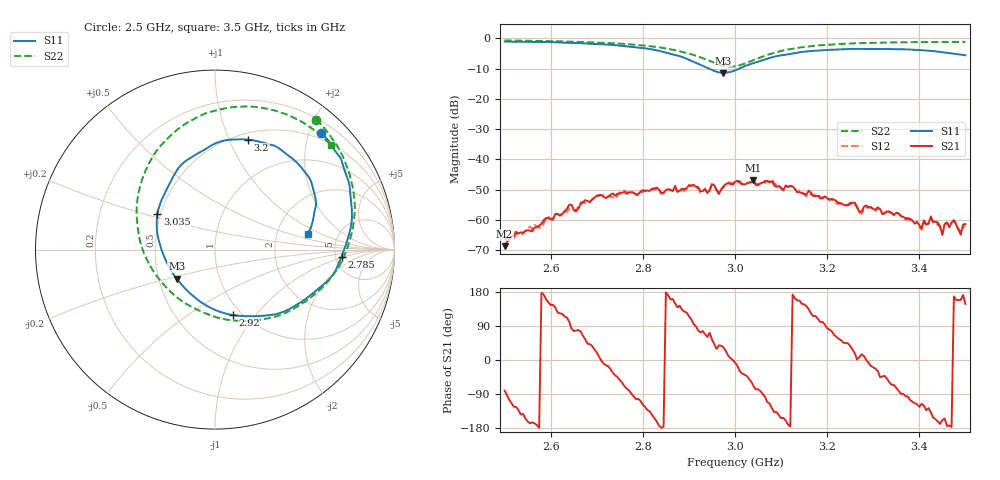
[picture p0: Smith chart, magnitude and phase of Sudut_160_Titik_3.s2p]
# Hz S RI R 50
! CMT, C1220, 16058040, 17.2.0/1
! Date: 15/08/2018 10:42:09
! Data: Format (Calibration Info)
! Freq  S11: Re/Im (F2)  S21: Re/Im (F2)  S12: Re/Im (F2)  S22: Re/Im (F2)
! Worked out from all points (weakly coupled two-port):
!   201 points, 2.5 GHz to 3.5 GHz, reference 50 ohm
!   highest |S21| = -46.92 dB at 3.04 GHz (marker M1); lowest = -68.7 dB at 2.5 GHz (marker M2)
!   lowest |S11| = -11.4 dB at 2.975 GHz (marker M3), VSWR 1.73, Z = 31 - j10.8 ohm
!   |S11| at or under -10 dB: 2.943 GHz to 3.009 GHz (66 MHz wide, 2.22 % of centre)
!   |S22| runs from -9.4 to -0.7 dB; largest |S21 - S12| = 0.00043
!   S11 on the Smith chart (normalised r, x): 2.5 GHz: 0.38, +2.21; 2.785 GHz: 5.66, -0.87; 2.92 GHz: 0.91, -0.77; 3.035 GHz: 0.48, +0.22; 3.2 GHz: 0.57, +1.18; 3.5 GHz: 3.00, +0.73
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2.5e9  0.5925 0.6512  5.89e-05 -0.000365  1.09e-06 -0.000467  0.5643 0.7248
2.525e9  0.6276 0.6126  -0.000358 -0.000528  -0.000318 -0.000486  0.593 0.6958
2.67e9  0.7511 0.34  0.00086 0.00177  0.000938 0.00171  0.7383 0.4535
2.785e9  0.7049 -0.0385  -0.000598 -0.00255  -0.000716 -0.00251  0.7683 0.1228
2.835e9  0.5818 -0.2132  -0.00316 -0.000383  -0.00306 -0.000418  0.7043 -0.069
2.92e9  0.0983 -0.3647  0.00071 0.00341  0.000637 0.00328  0.3313 -0.3751
2.965e9  -0.1679 -0.2159  0.00209 0.00167  0.00221 0.00171  -0.0209 -0.3675
2.975e9  -0.213 -0.1623  0.003 0.00198  0.00291 0.00194  -0.0974 -0.3356
3e9  -0.294 -0.0119  0.00421 -0.000501  0.00417 -0.000723  -0.2716 -0.2103
3.035e9  -0.3211 0.1984  0.0023 -0.0035  0.00235 -0.00345  -0.4182 0.0479
3.04e9  -0.3147 0.2265  0.00167 -0.00419  0.00182 -0.00417  -0.4255 0.0886
3.17e9  0.0856 0.6124  -0.00108 0.00227  -0.00128 0.00212  -0.0902 0.7417
3.2e9  0.1849 0.613  0.000255 0.00228  0.000344 0.00225  0.0207 0.7788
3.275e9  0.3764 0.5493  0.00135 0.000363  0.00122 0.000319  0.2525 0.7912
3.335e9  0.4887 0.4478  0.000692 -0.00116  0.000652 -0.00121  0.3934 0.7548
3.405e9  0.5555 0.3034  -0.000321 -0.000664  -0.000342 -0.000598  0.5196 0.6881
3.425e9  0.5632 0.2562  -0.000854 -0.000762  -0.00077 -0.000743  0.5497 0.6682
3.45e9  0.5527 0.2015  -0.000529 -0.000207  -0.000544 -0.000196  0.5859 0.6397
3.46e9  0.5477 0.1748  -0.000904 -9.4e-05  -0.00088 -0.000114  0.5987 0.6295
3.475e9  0.5394 0.1372  -0.000975 0.000211  -0.000939 0.000201  0.6164 0.6123
3.49e9  0.5267 0.1069  -0.00053 0.000208  -0.000591 0.000242  0.6343 0.594
3.5e9  0.5164 0.0887  -0.000727 0.000453  -0.000664 0.000428  0.6454 0.5829
